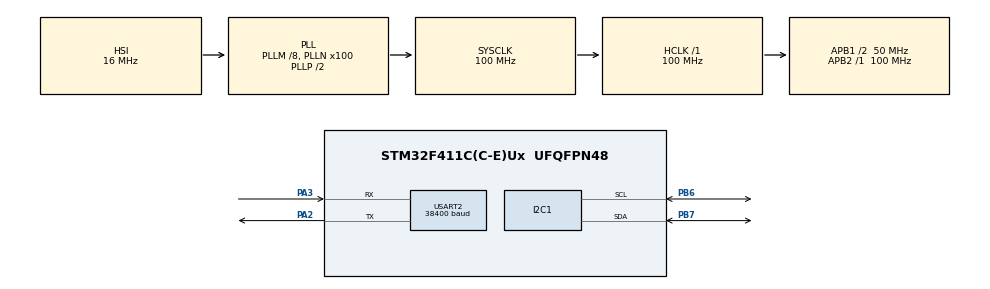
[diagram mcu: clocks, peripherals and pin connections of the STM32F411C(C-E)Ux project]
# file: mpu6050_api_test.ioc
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I2C1.I2C_Mode=I2C_Fast
Mcu.Family=STM32F4
Mcu.Name=STM32F411C(C-E)Ux
Mcu.Package=UFQFPN48
NVIC.PriorityGroup=NVIC_PRIORITYGROUP_4
PA2.Mode=Asynchronous
PA2.Signal=USART2_TX
PA3.Mode=Asynchronous
PA3.Signal=USART2_RX
PB6.Mode=I2C
PB6.Signal=I2C1_SCL
PB7.Mode=I2C
PB7.Signal=I2C1_SDA
PH0\ -\ OSC_IN.Mode=HSE-External-Oscillator
PH0\ -\ OSC_IN.Signal=RCC_OSC_IN
PH1\ -\ OSC_OUT.Mode=HSE-External-Oscillator
PH1\ -\ OSC_OUT.Signal=RCC_OSC_OUT
ProjectManager.HeapSize=0x200
ProjectManager.StackSize=0x400
ProjectManager.TargetToolchain=STM32CubeIDE
RCC.48MHZClocksFreq_Value=50000000
RCC.AHBFreq_Value=100000000
RCC.APB1CLKDivider=RCC_HCLK_DIV2
RCC.APB1Freq_Value=50000000
RCC.APB1TimFreq_Value=100000000
RCC.APB2Freq_Value=100000000
RCC.APB2TimFreq_Value=100000000
RCC.CortexFreq_Value=100000000
RCC.HCLKFreq_Value=100000000
RCC.HSE_VALUE=25000000
RCC.HSI_VALUE=16000000
RCC.LSE_VALUE=32768
RCC.PLLM=8
RCC.PLLN=100
RCC.SYSCLKFreq_VALUE=100000000
RCC.SYSCLKSource=RCC_SYSCLKSOURCE_PLLCLK
RCC.VCOOutputFreq_Value=200000000
USART2.BaudRate=38400
USART2.Mode=MODE_TX
USART2.VirtualMode=VM_ASYNC
board=custom

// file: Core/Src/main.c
/* USER CODE BEGIN Header */
/**
  ******************************************************************************
  * @file           : main.c
  * @brief          : Main program body
  ******************************************************************************
  * @attention
  *
  * Copyright (c) 2023 STMicroelectronics.
  * All rights reserved.
  *
  * This software is licensed under terms that can be found in the LICENSE file
  * in the root directory of this software component.
  * If no LICENSE file comes with this software, it is provided AS-IS.
  *
  ******************************************************************************
  */
/* USER CODE END Header */
#include "main.h"

/* USER CODE BEGIN Includes */
#include "IO_MPU6050.h"
#include "PR_MPU6050.h"

#include "IO_HC05.h"
#include "PR_HC05.h"
#include "CT_Logging.h"
/* USER CODE END Includes */

I2C_HandleTypeDef hi2c1;

UART_HandleTypeDef huart2;

void SystemClock_Config(void);
static void MX_GPIO_Init(void);
static void MX_I2C1_Init(void);
static void MX_USART2_UART_Init(void);

int main(void)
{

  /* MCU Configuration--------------------------------------------------------*/

  /* Reset of all peripherals, Initializes the Flash interface and the Systick. */
  HAL_Init();

  /* Configure the system clock */
  SystemClock_Config();

  /* Initialize all configured peripherals */
  MX_GPIO_Init();
  MX_I2C1_Init();
  MX_USART2_UART_Init();
  /* USER CODE BEGIN 2 */
  Config_MPU6050(hi2c1);

  HI_MPU6050_Bus_t HI_Bus;
  IP_MPU6050_Bus_t IP_Bus;
  CT_Log_Bus_t CT_Bus;
  OP_HC05_Bus_t OP_Bus;

//  uint8_t Data[22];
////  uint8_t *pData = Data;
//  uint8_t Size = 22;

  /* USER CODE END 2 */

  /* Infinite loop */
  /* USER CODE BEGIN WHILE */
  while (1)
  {
	  HI_Bus = HI_MPU6050(hi2c1);
	  IP_Bus = IP_MPU6050(HI_Bus);
	  CT_Bus = CT_Logging(IP_Bus);
	  OP_Bus = OP_HC05(CT_Bus);

	  HO_HCO5(huart2, OP_Bus.pData, OP_Bus.Size);

	  HAL_Delay(50);
    /* USER CODE END WHILE */

  }
}

void SystemClock_Config(void)
{
  RCC_OscInitTypeDef RCC_OscInitStruct = {0};
  RCC_ClkInitTypeDef RCC_ClkInitStruct = {0};

  /** Configure the main internal regulator output voltage
  */
  __HAL_RCC_PWR_CLK_ENABLE();
  __HAL_PWR_VOLTAGESCALING_CONFIG(PWR_REGULATOR_VOLTAGE_SCALE1);

  /** Initializes the RCC Oscillators according to the specified parameters
  * in the RCC_OscInitTypeDef structure.
  */
  RCC_OscInitStruct.OscillatorType = RCC_OSCILLATORTYPE_HSI;
  RCC_OscInitStruct.HSIState = RCC_HSI_ON;
  RCC_OscInitStruct.HSICalibrationValue = RCC_HSICALIBRATION_DEFAULT;
  RCC_OscInitStruct.PLL.PLLState = RCC_PLL_ON;
  RCC_OscInitStruct.PLL.PLLSource = RCC_PLLSOURCE_HSI;
  RCC_OscInitStruct.PLL.PLLM = 8;
  RCC_OscInitStruct.PLL.PLLN = 100;
  RCC_OscInitStruct.PLL.PLLP = RCC_PLLP_DIV2;
  RCC_OscInitStruct.PLL.PLLQ = 4;
  if (HAL_RCC_OscConfig(&RCC_OscInitStruct) != HAL_OK)
  {
    Error_Handler();
  }

  /** Initializes the CPU, AHB and APB buses clocks
  */
  RCC_ClkInitStruct.ClockType = RCC_CLOCKTYPE_HCLK|RCC_CLOCKTYPE_SYSCLK
                              |RCC_CLOCKTYPE_PCLK1|RCC_CLOCKTYPE_PCLK2;
  RCC_ClkInitStruct.SYSCLKSource = RCC_SYSCLKSOURCE_PLLCLK;
  RCC_ClkInitStruct.AHBCLKDivider = RCC_SYSCLK_DIV1;
  RCC_ClkInitStruct.APB1CLKDivider = RCC_HCLK_DIV2;
  RCC_ClkInitStruct.APB2CLKDivider = RCC_HCLK_DIV1;

  if (HAL_RCC_ClockConfig(&RCC_ClkInitStruct, FLASH_LATENCY_3) != HAL_OK)
  {
    Error_Handler();
  }
}

static void MX_I2C1_Init(void)
{

  hi2c1.Instance = I2C1;
  hi2c1.Init.ClockSpeed = 400000;
  hi2c1.Init.DutyCycle = I2C_DUTYCYCLE_2;
  hi2c1.Init.OwnAddress1 = 0;
  hi2c1.Init.AddressingMode = I2C_ADDRESSINGMODE_7BIT;
  hi2c1.Init.DualAddressMode = I2C_DUALADDRESS_DISABLE;
  hi2c1.Init.OwnAddress2 = 0;
  hi2c1.Init.GeneralCallMode = I2C_GENERALCALL_DISABLE;
  hi2c1.Init.NoStretchMode = I2C_NOSTRETCH_DISABLE;
  if (HAL_I2C_Init(&hi2c1) != HAL_OK)
  {
    Error_Handler();
  }

}

static void MX_USART2_UART_Init(void)
{

  huart2.Instance = USART2;
  huart2.Init.BaudRate = 38400;
  huart2.Init.WordLength = UART_WORDLENGTH_8B;
  huart2.Init.StopBits = UART_STOPBITS_1;
  huart2.Init.Parity = UART_PARITY_NONE;
  huart2.Init.Mode = UART_MODE_TX;
  huart2.Init.HwFlowCtl = UART_HWCONTROL_NONE;
  huart2.Init.OverSampling = UART_OVERSAMPLING_16;
  if (HAL_UART_Init(&huart2) != HAL_OK)
  {
    Error_Handler();
  }

}

static void MX_GPIO_Init(void)
{

  /* GPIO Ports Clock Enable */
  __HAL_RCC_GPIOH_CLK_ENABLE();
  __HAL_RCC_GPIOA_CLK_ENABLE();
  __HAL_RCC_GPIOB_CLK_ENABLE();

}

void Error_Handler(void)
{
  __disable_irq();
  while (1)
  {
  }
}
